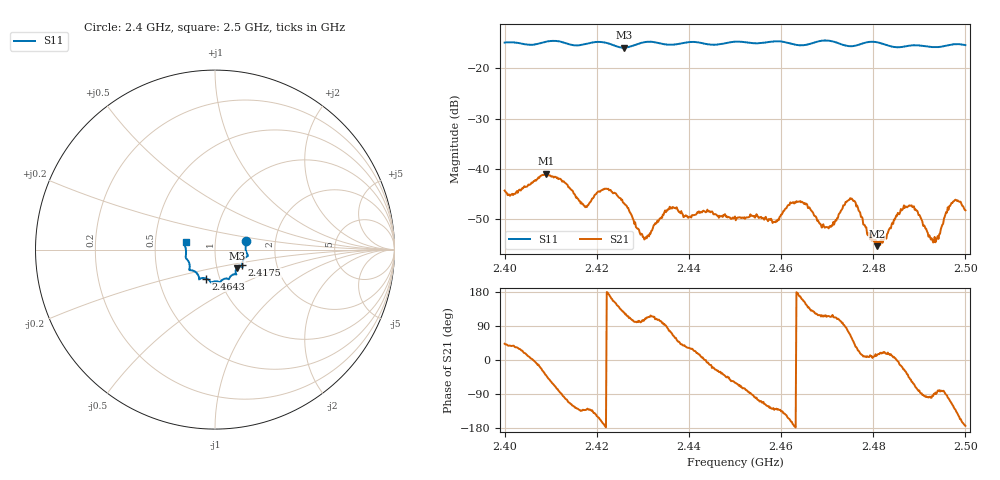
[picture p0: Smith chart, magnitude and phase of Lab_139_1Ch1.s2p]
# Hz S RI R 50
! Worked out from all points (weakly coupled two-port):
!   601 points, 2.4 GHz to 2.5 GHz, reference 50 ohm
!   highest |S21| = -40.95 dB at 2.409 GHz (marker M1); lowest = -55.3 dB at 2.4808 GHz (marker M2)
!   lowest |S11| = -15.9 dB at 2.4258 GHz (marker M3), VSWR 1.38, Z = 62.3 - j13.2 ohm
!   |S11| at or under -10 dB: start of sweep to end of sweep
!   S12 and S22 are empty: the file has one direction only
!   S11 on the Smith chart (normalised r, x): 2.4 GHz: 1.41, +0.14; 2.4175 GHz: 1.34, -0.23; 2.4643 GHz: 0.86, -0.29; 2.5 GHz: 0.72, +0.06
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2.4e9  0.1727 0.0487  0.00448 0.00415  0 0  0 0
2.409e9  0.1811 -0.0285  0.00685 -0.00578  0 0  0 0
2.416667e9  0.1528 -0.0741  -0.0032 -0.00339  0 0  0 0
2.4175e9  0.1518 -0.0835  -0.00278 -0.00311  0 0  0 0
2.422e9  0.1514 -0.095  -0.00638 -0.000262  0 0  0 0
2.425833e9  0.1218 -0.1033  -0.00268 0.00375  0 0  0 0
2.430333e9  0.118 -0.1373  -0.00055 0.00192  0 0  0 0
2.433333e9  0.1131 -0.1372  -0.00083 0.00287  0 0  0 0
2.436333e9  0.092 -0.1443  0.0014 0.0038  0 0  0 0
2.45e9  0.0288 -0.181  0.00169 -0.00292  0 0  0 0
2.458667e9  -0.0214 -0.1834  -0.00189 -0.00232  0 0  0 0
2.464333e9  -0.0498 -0.161  -0.00449 0.0013  0 0  0 0
2.466667e9  -0.0758 -0.1593  -0.00249 0.00291  0 0  0 0
2.470333e9  -0.0881 -0.1654  -0.00113 0.00231  0 0  0 0
2.4755e9  -0.111 -0.1226  0.00297 0.00398  0 0  0 0
2.480833e9  -0.1433 -0.1099  0.00167 0.000393  0 0  0 0
2.483333e9  -0.1409 -0.0901  0.00237 0.000649  0 0  0 0
2.486333e9  -0.1511 -0.0603  0.00372 -0.00132  0 0  0 0
2.488333e9  -0.1611 -0.0483  0.00234 -0.00367  0 0  0 0
2.493333e9  -0.1613 -0.0103  -1.25e-06 -0.00212  0 0  0 0
2.497333e9  -0.17 0.0291  -0.00242 -0.00409  0 0  0 0
2.5e9  -0.1639 0.0428  -0.00387 -0.000421  0 0  0 0
